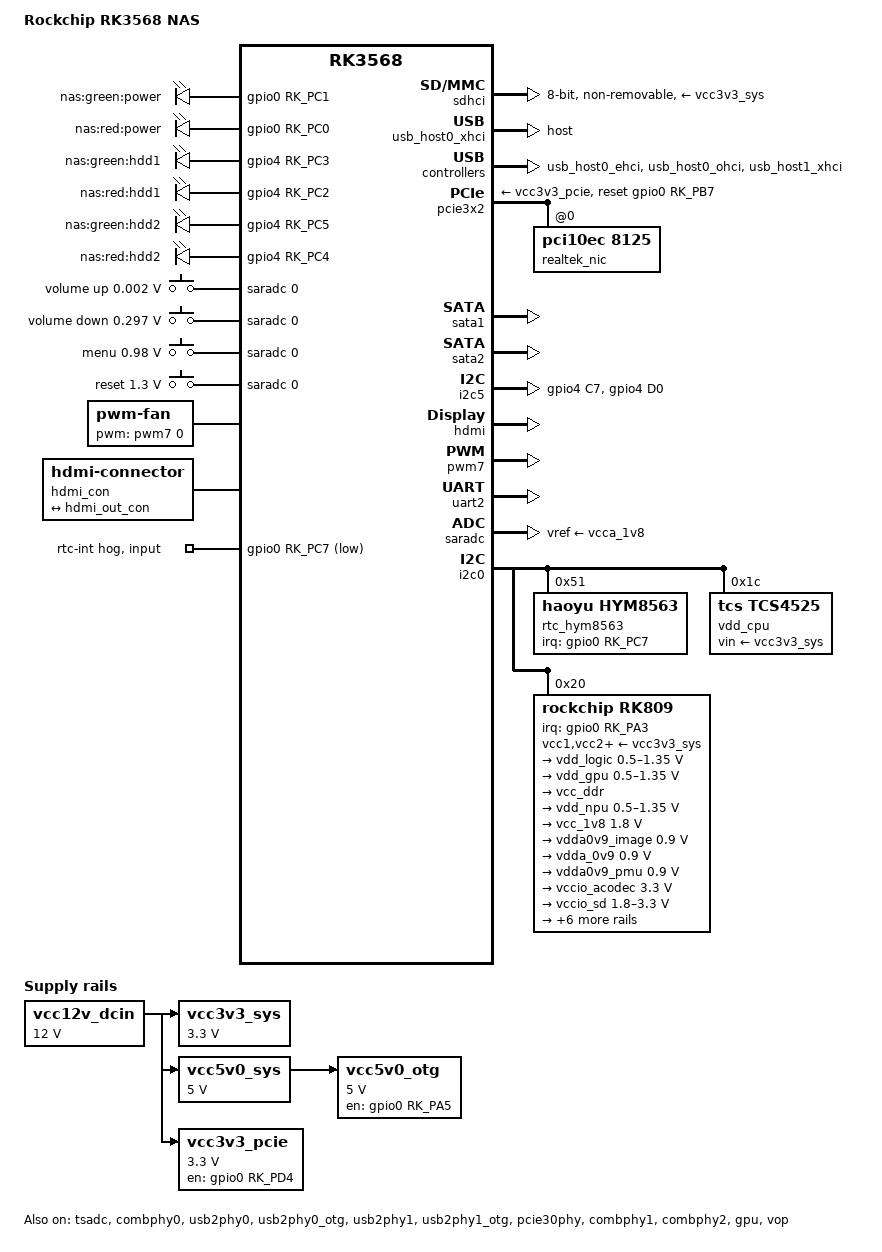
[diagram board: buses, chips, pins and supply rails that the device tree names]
// GPL-3.0 License

/dts-v1/;

#include <dt-bindings/gpio/gpio.h>
#include <dt-bindings/pinctrl/rockchip.h>
#include <dt-bindings/leds/common.h>
#include <dt-bindings/input/input.h>
#include <dt-bindings/soc/rockchip,vop2.h>
#include "rk3568.dtsi"

/ {
	model = "Rockchip RK3568 NAS";
	compatible = "rockchip,rk3568-nas", "rockchip,rk3568";

	aliases {
		ethernet0 = &gmac0;
		ethernet1 = &gmac1;
		mmc0 = &sdhci; /* eMMC */
		mmc1 = &sdmmc0; /* SD Card placeholder */
		rtc0 = &rtc_hym8563; /* Primary Battery-Backed RTC */
		rtc1 = &rk809; /* Secondary PMIC RTC */
	};

	chosen {
		stdout-path = "serial2:1500000n8";
	};

	/* --- POWER REGULATORS --- */
	vcc12v_dcin: dc-12v {
		compatible = "regulator-fixed";
		regulator-name = "dc-12v";
		regulator-always-on;
		regulator-boot-on;
		regulator-min-microvolt = <12000000>;
		regulator-max-microvolt = <12000000>;
	};

	vcc3v3_sys: vcc3v3-sys-regulator {
		compatible = "regulator-fixed";
		regulator-name = "vcc3v3_sys";
		regulator-always-on;
		regulator-boot-on;
		regulator-min-microvolt = <3300000>;
		regulator-max-microvolt = <3300000>;
		vin-supply = <&vcc12v_dcin>;
	};

	vcc5v0_sys: vcc5v0-sys-regulator {
		compatible = "regulator-fixed";
		regulator-name = "vcc5v0_sys";
		regulator-always-on;
		regulator-boot-on;
		regulator-min-microvolt = <5000000>;
		regulator-max-microvolt = <5000000>;
		vin-supply = <&vcc12v_dcin>;
	};

	vcc3v3_pcie: vcc3v3-pcie-regulator {
		compatible = "regulator-fixed";
		regulator-name = "vcc3v3_pcie";
		regulator-min-microvolt = <3300000>;
		regulator-max-microvolt = <3300000>;
		enable-active-high;
		gpio = <&gpio0 RK_PD4 GPIO_ACTIVE_HIGH>;
		startup-delay-us = <50000>;
		regulator-always-on;
		regulator-boot-on;
		vin-supply = <&vcc12v_dcin>;
	};

	vcc5v0_otg: vcc5v0-otg-regulator {
		compatible = "regulator-fixed";
		regulator-name = "vcc5v0_otg";
		regulator-min-microvolt = <5000000>;
		regulator-max-microvolt = <5000000>;
		enable-active-high;
		gpio = <&gpio0 RK_PA5 GPIO_ACTIVE_HIGH>;
		regulator-always-on;
		regulator-boot-on;
		vin-supply = <&vcc5v0_sys>;
	};

	/* --- LEDS --- */
	leds {
		compatible = "gpio-leds";

		/* Power LEDs - Active High */
		pwr_led_green: pwr-led-green {
			label = "nas:green:power";
			gpios = <&gpio0 RK_PC1 GPIO_ACTIVE_HIGH>;
			default-state = "on";
		};
		pwr_led_red: pwr-led-red {
			label = "nas:red:power";
			gpios = <&gpio0 RK_PC0 GPIO_ACTIVE_HIGH>;
			default-state = "off";
		};

		/* HDD LEDs - Active High */
		/* Using 'disk-activity' trigger to blink on I/O */
		hdd1_led_green: hdd1-led-green {
			label = "nas:green:hdd1";
			gpios = <&gpio4 RK_PC3 GPIO_ACTIVE_HIGH>;
			default-state = "off";
			linux,default-trigger = "disk-activity";
		};
		hdd1_led_red: hdd1-led-red {
			label = "nas:red:hdd1";
			gpios = <&gpio4 RK_PC2 GPIO_ACTIVE_HIGH>;
			default-state = "off";
		};

		hdd2_led_green: hdd2-led-green {
			label = "nas:green:hdd2";
			gpios = <&gpio4 RK_PC5 GPIO_ACTIVE_HIGH>;
			default-state = "off";
			linux,default-trigger = "disk-activity";
		};
		hdd2_led_red: hdd2-led-red {
			label = "nas:red:hdd2";
			gpios = <&gpio4 RK_PC4 GPIO_ACTIVE_HIGH>;
			default-state = "off";
		};
	};

	/* --- BUTTONS --- */
	adc-keys {
		compatible = "adc-keys";
		io-channels = <&saradc 0>;
		io-channel-names = "buttons";
		keyup-threshold-microvolt = <1800000>;

		vol-up-key {
			label = "volume up";
			linux,code = <KEY_VOLUMEUP>;
			press-threshold-microvolt = <1750>;
		};
		vol-down-key {
			label = "volume down";
			linux,code = <KEY_VOLUMEDOWN>;
			press-threshold-microvolt = <297500>;
		};
		menu-key {
			label = "menu";
			linux,code = <KEY_MENU>; 
			press-threshold-microvolt = <980000>;
		};
		back-key {
			label = "reset"; 
			linux,code = <KEY_RESTART>; 
			press-threshold-microvolt = <1300000>;
		};
	};

	/* --- FAN --- */
	fan: pwm-fan {
		compatible = "pwm-fan";
		#cooling-cells = <2>;
		/* Polarity 1 (Inverted) - Confirmed Working */
		pwms = <&pwm7 0 50000 0>;
		/* 10-step Smooth Curve */
		cooling-levels = <0 32 64 96 128 160 192 224 240 255>;
	};

	/* --- HDMI --- */
	hdmi_con: hdmi-connector {
		compatible = "hdmi-connector";
		type = "a";
		
		/* Important: This tells the kernel how to detect the plug */

		port {
			hdmi_con_in: endpoint {
				remote-endpoint = <&hdmi_out_con>;
			};
		};
	};
};

/* --- GPIO HOG (THE RTC FIX) --- */
/* This forces Pin 23 (PC7) to be an INPUT immediately at boot.
   This prevents the "locked as output" error for the RTC driver. */
&gpio0 {
	rtc_int_hog {
		gpio-hog;
		gpios = <RK_PC7 GPIO_ACTIVE_LOW>;
		input;
		line-name = "rtc-int";
	};
};

/* --- CPU & Thermal --- */
&cpu0 { cpu-supply = <&vdd_cpu>; };
&cpu1 { cpu-supply = <&vdd_cpu>; };
&cpu2 { cpu-supply = <&vdd_cpu>; };
&cpu3 { cpu-supply = <&vdd_cpu>; };

&tsadc {
	status = "okay";
};

&cpu_thermal {
	trips {
		/* High-Res Curve: 45C (Start) to 80C (Max) */
		cpu_warm: cpu_warm {
			temperature = <45000>;
			hysteresis = <2000>;
			type = "active";
		};
		cpu_med: cpu_med {
			temperature = <55000>;
			hysteresis = <2000>;
			type = "active";
		};
		cpu_hot: cpu_hot {
			temperature = <70000>;
			hysteresis = <2000>;
			type = "active";
		};
		cpu_crit_hot: cpu_crit_hot {
			temperature = <80000>;
			hysteresis = <2000>;
			type = "active";
		};
	};

	cooling-maps {
		map0 {
			trip = <&cpu_warm>;
			cooling-device = <&fan 1 2>;
		};
		map1 {
			trip = <&cpu_med>;
			cooling-device = <&fan 2 4>;
		};
		map2 {
			trip = <&cpu_hot>;
			cooling-device = <&fan 4 7>;
		};
		map3 {
			trip = <&cpu_crit_hot>;
			cooling-device = <&fan 7 9>;
		};
	};
};

/* --- STORAGE --- */
&sdhci {
	status = "okay";
	bus-width = <8>;
	max-frequency = <200000000>;
	non-removable;
	pinctrl-names = "default";
	pinctrl-0 = <&emmc_bus8 &emmc_clk &emmc_cmd &emmc_datastrobe>;
	vmmc-supply = <&vcc3v3_sys>;
	vqmmc-supply = <&vcc_1v8>; 
};

&sdmmc0 { status = "disabled"; };

/* --- USB CONFIGURATION --- */
&usb_host0_xhci { status = "okay"; dr_mode = "host"; };
													 
															   

				 
				 
				  
  

		   
&combphy0 { status = "okay"; phy-supply = <&vcc5v0_otg>; };
							
  

&usb2phy0 { status = "okay"; };
				 
		   
&usb2phy0_otg { status = "okay"; vbus-supply = <&vcc5v0_otg>; };
							  
   

&usb_host0_ehci { status = "okay"; };
&usb_host0_ohci { status = "okay"; };
									 

&usb2phy1 { status = "okay"; };
				 
		   
&usb2phy1_otg { status = "okay"; phy-supply = <&vcc5v0_sys>; };
							 
   

&usb_host1_ehci { status = "disabled"; };
&usb_host1_ohci { status = "disabled"; };
&usb_host1_xhci { status = "okay"; }; 

/* --- NETWORK --- */
&gmac0 { status = "disabled"; };
&gmac1 { status = "disabled"; };

&pcie3x2 {
	status = "okay";
	bus-range = <0x20 0x2f>;
	reset-gpios = <&gpio0 RK_PB7 GPIO_ACTIVE_HIGH>;
	vpcie3v3-supply = <&vcc3v3_pcie>;
	
	pcie@0,0 {
		reg = <0x200000 0 0 0 0>;
		#address-cells = <3>;
		#size-cells = <2>;
		realtek_nic: pcie-eth@0,0 {
			compatible = "pci10ec,8125"; 
			reg = <0 0 0 0 0>;
		};
	};
};
  
&pcie30phy { status = "okay"; };

/* --- SATA --- */
&sata0 { status = "disabled"; };
&sata1 { status = "okay"; };
&sata2 { status = "okay"; };
&combphy1 { status = "okay"; };
&combphy2 { status = "okay"; };

/* --- VIDEO --- */
&power {
    status = "okay";
	power-domain@9 {
        status = "okay";
        assigned-clocks = <&cru DCLK_VOP0>, <&cru DCLK_VOP1>;
        assigned-clock-parents = <&pmucru PLL_HPLL>, <&cru PLL_VPLL>;
    };
};

&gpu {
    status = "okay";
    /* Mainline requires 'rockchip,rk3568-mali' for correct quirk handling */
    compatible = "rockchip,rk3568-mali", "arm,mali-bifrost";
    
    /* Connect to the existing GPU power regulator */
    mali-supply = <&vdd_gpu>;
};

&i2c5 {
    status = "okay";
    pinctrl-names = "default";
    pinctrl-0 = <&i2c5m1_xfer>;
};

&hdmi {
    status = "okay";
    power-domains = <&power RK3568_PD_VO>;
    rockchip,grf = <&grf>;
    rockchip,force-hpd;

    /* CLOCK FIX: Use &xin24m (the physical oscillator node) */
    assigned-clocks = <&cru CLK_HDMI_REF>;
    assigned-clock-parents = <&xin24m>;
    
	ddc-i2c-bus = <&i2c5>;
	pinctrl-names = "default";
	pinctrl-0 = <&hdmitxm0_cec>;
	
    avdd-0v9-supply = <&vdda0v9_image>;
    avdd-1v8-supply = <&vcca1v8_image>;
    
    rockchip,phy-table = <
        0x58834d4 0x8009 0x00 0x270 
        0x9d5b340 0x800b 0x00 0x26d 
        0xb1069a8 0x800b 0x00 0x1ed 
        0x11b3dc40 0x800b 0x00 0x1ad 
        0x2367b880 0x8029 0x00 0x88 
        0x00 0x00 0x00 0x00
    >;
};
  

		  
&hdmi_in { hdmi_in_vp0: endpoint { remote-endpoint = <&vp0_out_hdmi>; }; };
									
   
  

		   
&hdmi_out { hdmi_out_con: endpoint { remote-endpoint = <&hdmi_con_in>; }; };
								   
   
  
&vop {
	power-domains = <&power RK3568_PD_VO>;
	assigned-clocks = <&cru DCLK_VOP0>, <&cru DCLK_VOP1>;
    assigned-clock-parents = <&pmucru PLL_HPLL>, <&cru PLL_VPLL>;
	status = "okay"; 
};

&vop_mmu {
    status = "okay";
    power-domains = <&power RK3568_PD_VO>;
};
&vp0 {
	rockchip,plane-mask = <0x5>; 
	rockchip,primary-plane = <0x2>;
    vp0_out_hdmi: endpoint@ROCKCHIP_VOP2_EP_HDMI0 {
        reg = <ROCKCHIP_VOP2_EP_HDMI0>;
        remote-endpoint = <&hdmi_in_vp0>;
    };
};
&vp1 { status = "disabled"; };
&vp2 { status = "disabled"; };
	  
/* --- PERIPHERALS --- */
&pwm7 { status = "okay"; };
&uart2 { status = "okay"; };
&saradc { status = "okay"; vref-supply = <&vcca_1v8>; };

/* --- PMIC / RTC --- */
&pmu_io_domains {
	/* Matches Stock DT Source 990 */
	pmuio2-supply = <&vcc3v3_pmu>; /* Needed for GPIO0 3.3V Logic */
	vccio4-supply = <&vcc_1v8>;
	vccio6-supply = <&vcc_1v8>;
	status = "okay";
};

&i2c0 {
	status = "okay";

	/* Battery-Backed RTC */
	rtc_hym8563: rtc@51 {
		compatible = "haoyu,hym8563";
		reg = <0x51>;
		interrupt-parent = <&gpio0>;
		interrupts = <RK_PC7 IRQ_TYPE_LEVEL_LOW>;
		#clock-cells = <0>;
		clock-output-names = "hym8563";
		pinctrl-names = "default";
		pinctrl-0 = <&hym8563_int>;
		wakeup-source;
	};

	vdd_cpu: regulator@1c {
		compatible = "tcs,tcs4525";
		reg = <0x1c>;
		vin-supply = <&vcc3v3_sys>;
		regulator-name = "vdd_cpu";
		regulator-min-microvolt = <712500>;
		regulator-max-microvolt = <1390000>;
		regulator-always-on;
		regulator-boot-on;
		regulator-init-microvolt = <900000>;
	};

	rk809: pmic@20 {
		compatible = "rockchip,rk809";
		reg = <0x20>;
		interrupt-parent = <&gpio0>;
		interrupts = <RK_PA3 IRQ_TYPE_LEVEL_LOW>;
		#clock-cells = <1>;
		pinctrl-names = "default";
		pinctrl-0 = <&pmic_int>;
		rockchip,system-power-controller;
		
		vcc1-supply = <&vcc3v3_sys>;
		vcc2-supply = <&vcc3v3_sys>;
		vcc3-supply = <&vcc3v3_sys>;
		vcc4-supply = <&vcc3v3_sys>;
		vcc5-supply = <&vcc3v3_sys>;
		vcc6-supply = <&vcc3v3_sys>;
		vcc7-supply = <&vcc3v3_sys>;
		vcc8-supply = <&vcc3v3_sys>;
		vcc9-supply = <&vcc3v3_sys>;

		regulators {
			vdd_logic: DCDC_REG1 {
				regulator-name = "vdd_logic";
				regulator-always-on;
				regulator-boot-on;
				regulator-min-microvolt = <500000>;
				regulator-max-microvolt = <1350000>;
				regulator-initial-mode = <0x2>;
				regulator-state-mem { regulator-off-in-suspend; };
			};
			vdd_gpu: DCDC_REG2 {
				regulator-name = "vdd_gpu";
				regulator-always-on;
				regulator-boot-on;
				regulator-min-microvolt = <500000>;
				regulator-max-microvolt = <1350000>;
				regulator-initial-mode = <0x2>;
				regulator-state-mem { regulator-off-in-suspend; };
			};
			vcc_ddr: DCDC_REG3 {
				regulator-name = "vcc_ddr";
				regulator-always-on;
				regulator-boot-on;
				regulator-initial-mode = <0x2>;
				regulator-state-mem { regulator-on-in-suspend; };
			};
			vdd_npu: DCDC_REG4 {
				regulator-name = "vdd_npu";
				regulator-always-on;
				regulator-boot-on;
				regulator-min-microvolt = <500000>;
				regulator-max-microvolt = <1350000>;
				regulator-initial-mode = <0x2>;
				regulator-state-mem { regulator-off-in-suspend; };
			};
			vcc_1v8: DCDC_REG5 {
				regulator-name = "vcc_1v8";
				regulator-always-on;
				regulator-boot-on;
				regulator-min-microvolt = <1800000>;
				regulator-max-microvolt = <1800000>;
				regulator-state-mem { regulator-off-in-suspend; };
			};
			vdda0v9_image: LDO_REG1 {
				regulator-name = "vdda0v9_image";
				regulator-always-on;
				regulator-boot-on;
				regulator-min-microvolt = <900000>;
				regulator-max-microvolt = <900000>;
				regulator-state-mem { regulator-off-in-suspend; };
			};
			vdda_0v9: LDO_REG2 {
				regulator-name = "vdda_0v9";
				regulator-always-on;
				regulator-boot-on;
				regulator-min-microvolt = <900000>;
				regulator-max-microvolt = <900000>;
				regulator-state-mem { regulator-off-in-suspend; };
			};
			vdda0v9_pmu: LDO_REG3 {
				regulator-name = "vdda0v9_pmu";
				regulator-always-on;
				regulator-boot-on;
				regulator-min-microvolt = <900000>;
				regulator-max-microvolt = <900000>;
				regulator-state-mem { regulator-on-in-suspend; regulator-suspend-microvolt = <900000>; };
			};
			vccio_acodec: LDO_REG4 {
				regulator-name = "vccio_acodec";
				regulator-always-on;
				regulator-boot-on;
				regulator-min-microvolt = <3300000>;
				regulator-max-microvolt = <3300000>;
				regulator-state-mem { regulator-off-in-suspend; };
			};
			vccio_sd: LDO_REG5 {
				regulator-name = "vccio_sd";
				regulator-always-on;
				regulator-boot-on;
				regulator-min-microvolt = <1800000>;
				regulator-max-microvolt = <3300000>;
				regulator-state-mem { regulator-off-in-suspend; };
			};
			vcc3v3_pmu: LDO_REG6 {
				regulator-name = "vcc3v3_pmu";
				regulator-always-on;
				regulator-boot-on;
				regulator-min-microvolt = <3300000>;
				regulator-max-microvolt = <3300000>;
				regulator-state-mem { regulator-on-in-suspend; regulator-suspend-microvolt = <3300000>; };
			};
			vcca_1v8: LDO_REG7 {
				regulator-name = "vcca_1v8";
				regulator-always-on;
				regulator-boot-on;
				regulator-min-microvolt = <1800000>;
				regulator-max-microvolt = <1800000>;
				regulator-state-mem { regulator-off-in-suspend; };
			};
			vcca1v8_pmu: LDO_REG8 {
				regulator-name = "vcca1v8_pmu";
				regulator-always-on;
				regulator-boot-on;
				regulator-min-microvolt = <1800000>;
				regulator-max-microvolt = <1800000>;
				regulator-state-mem { regulator-on-in-suspend; regulator-suspend-microvolt = <1800000>; };
			};
			vcca1v8_image: LDO_REG9 {
				regulator-name = "vcca1v8_image";
				regulator-always-on;
				regulator-boot-on;
				regulator-min-microvolt = <1800000>;
				regulator-max-microvolt = <1800000>;
				regulator-state-mem { regulator-off-in-suspend; };
			};
			vcc_3v3: SWITCH_REG1 {
				regulator-name = "vcc_3v3";
				regulator-always-on;
				regulator-boot-on;
				regulator-state-mem { regulator-off-in-suspend; };
			};
			vcc3v3_sd: SWITCH_REG2 {
				regulator-name = "vcc3v3_sd";
				regulator-always-on;
				regulator-boot-on;
				regulator-state-mem { regulator-off-in-suspend; };
			};
		};
	};
};

/* Pin Control Mappings */
&pinctrl {
	i2c5 {
        i2c5m1_xfer: i2c5m1-xfer {
            rockchip,pins =
                /* Bank 4, Pin 23 (PC7), Func 2 (I2C5_SCL), No Pull */
                <4 RK_PC7 2 &pcfg_pull_none>,
                /* Bank 4, Pin 24 (PD0), Func 2 (I2C5_SDA), No Pull */
                <4 RK_PD0 2 &pcfg_pull_none>;
        };
    };
	pmic {
		pmic_int: pmic_int {
			rockchip,pins = <0 RK_PA3 RK_FUNC_GPIO &pcfg_pull_up>;
		};
	};
	hym8563 {
		hym8563_int: hym8563-int {
			rockchip,pins = <0 RK_PC7 RK_FUNC_GPIO &pcfg_pull_up>;
		};
	};

};
